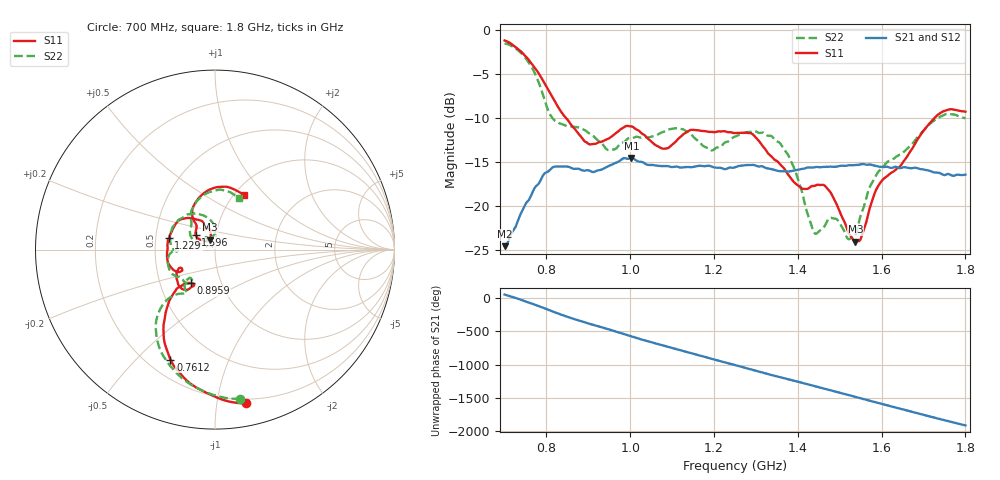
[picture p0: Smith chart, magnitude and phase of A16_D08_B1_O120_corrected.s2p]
! Created with skrf 1.9.0 (http://scikit-rf.org).
# Hz S RI R 50.0
!freq ReS11 ImS11 ReS21 ImS21 ReS12 ImS12 ReS22 ImS22
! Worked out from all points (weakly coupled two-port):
!   1601 points, 700 MHz to 1.8 GHz, reference 50 ohm
!   highest |S21| = -14.52 dB at 1.002 GHz (marker M1); lowest = -24.5 dB at 700.7 MHz (marker M2)
!   lowest |S11| = -24.0 dB at 1.537 GHz (marker M3), VSWR 1.13, Z = 46.9 + j5.26 ohm
!   |S11| at or under -10 dB: 847.4 MHz to 1.726 GHz (878.3 MHz wide, 68.3 % of centre)
!   |S22| runs from -23.7 to -1.5 dB; largest |S21 - S12| = 0.0037
!   S11 on the Smith chart (normalised r, x): 700 MHz: 0.17, -1.21; 761.2 MHz: 0.29, -0.63; 895.9 MHz: 0.72, -0.28; 1.229 GHz: 0.59, +0.08; 1.596 GHz: 0.80, +0.13; 1.8 GHz: 1.11, +0.77
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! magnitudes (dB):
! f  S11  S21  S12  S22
! 700 MHz  -1.2  -24.5  -24.3  -1.5
! 700.7 MHz  -1.2  -24.5  -24.2  -1.5
! 761.2 MHz  -3.6  -19.0  -18.9  -3.9
! 814.8 MHz  -7.7  -15.6  -15.6  -10.0
! 883.6 MHz  -12.2  -15.9  -15.8  -11.2
! 895.9 MHz  -12.8  -15.9  -16.0  -11.5
! 948.9 MHz  -12.3  -15.4  -15.4  -13.6
! 1.002 GHz  -10.9  -14.5  -14.6  -12.3
! 1.067 GHz  -13.2  -15.4  -15.4  -11.8
! 1.194 GHz  -11.5  -15.5  -15.4  -13.7
! 1.229 GHz  -11.5  -15.7  -15.7  -12.7
! 1.25 GHz  -11.7  -15.6  -15.5  -12.1
! 1.292 GHz  -11.8  -15.3  -15.3  -11.5
! 1.358 GHz  -15.2  -16.0  -16.0  -12.9
! 1.393 GHz  -17.4  -15.9  -15.9  -15.9
! 1.434 GHz  -17.7  -15.6  -15.6  -22.3
! 1.474 GHz  -18.2  -15.5  -15.5  -21.4
! 1.537 GHz  -24.0  -15.3  -15.3  -23.3
! 1.596 GHz  -17.4  -15.5  -15.5  -15.9
! 1.617 GHz  -16.4  -15.6  -15.5  -14.8
! 1.734 GHz  -9.6  -16.2  -16.2  -9.9
! 1.8 GHz  -9.3  -16.4  -16.4  -10.0
